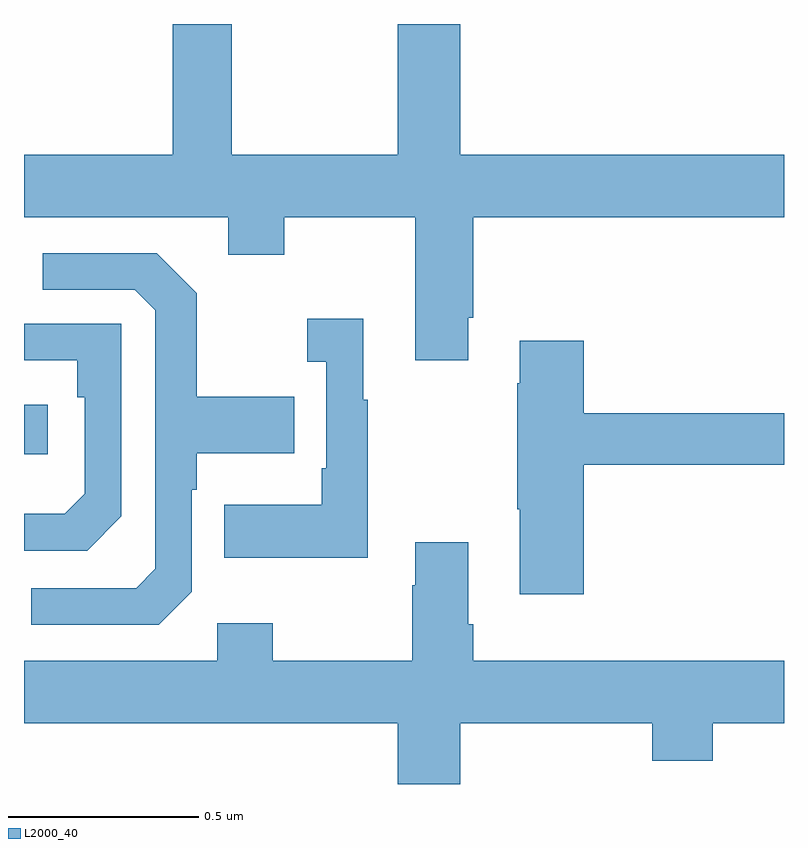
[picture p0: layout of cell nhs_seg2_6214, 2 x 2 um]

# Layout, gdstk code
import gdstk
lib = gdstk.Library(unit=1e-6, precision=1e-09)
def R(c, l, rs):  # rectangles x0, y0, x1, y1
    for r in rs: c.add(gdstk.rectangle(r[:2], r[2:], *l))
def P(c, l, *ps):  # polygons
    for p in ps: c.add(gdstk.Polygon(p, *l))
L2000_40 = (2000, 40)

nhs_seg2_6214 = lib.new_cell('nhs_seg2_6214')
R(nhs_seg2_6214, L2000_40, [(188,657.668,188.062,657.798)])
P(nhs_seg2_6214, L2000_40, [(189.169,658.027),(189.182,658.027),(189.182,658.292),(190,658.292),(190,658.456),(189.148,658.456),(189.148,658.8),(188.984,658.8),(188.984,658.456),(188.547,658.456),(188.547,658.8),(188.392,658.8),(188.392,658.456),(188,658.456),(188,658.292),(188.537,658.292),(188.537,658.193),(188.685,658.193),(188.685,658.292),(189.029,658.292),(189.029,657.915),(189.169,657.915)],
  [(188.442,657.306),(188.442,657.575),(188.455,657.575),(188.455,657.671),(188.711,657.671),(188.711,657.819),(188.455,657.819),(188.455,658.091),(188.349,658.197),(188.049,658.197),(188.049,658.101),(188.292,658.101),(188.346,658.047),(188.346,657.366),(188.295,657.315),(188.019,657.315),(188.019,657.219),(188.355,657.219)],
  [(188.905,657.811),(188.893,657.811),(188.893,658.024),(188.745,658.024),(188.745,657.911),(188.796,657.911),(188.796,657.631),(188.784,657.631),(188.784,657.535),(188.527,657.535),(188.527,657.395),(188.905,657.395)],
  [(188.256,657.504),(188.256,658.011),(188,658.011),(188,657.915),(188.14,657.915),(188.14,657.818),(188.16,657.818),(188.16,657.564),(188.107,657.511),(188,657.511),(188,657.414),(188.166,657.414)],
  [(189.473,657.64),(190,657.64),(190,657.776),(189.473,657.776),(189.473,657.967),(189.305,657.967),(189.305,657.854),(189.298,657.854),(189.298,657.523),(189.305,657.523),(189.305,657.3),(189.473,657.3)],
  [(189.169,657.22),(189.169,657.436),(189.029,657.436),(189.029,657.323),(189.022,657.323),(189.022,657.124),(188.655,657.124),(188.655,657.223),(188.508,657.223),(188.508,657.124),(188,657.124),(188,656.96),(188.984,656.96),(188.984,656.8),(189.148,656.8),(189.148,656.96),(189.653,656.96),(189.653,656.861),(189.813,656.861),(189.813,656.96),(190,656.96),(190,657.124),(189.182,657.124),(189.182,657.22)])

lib.write_gds('nhs_seg2_6214.gds')
